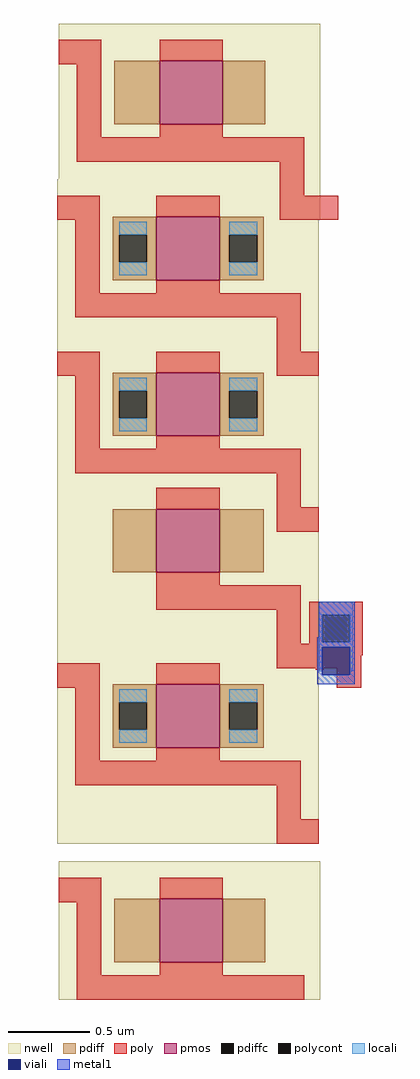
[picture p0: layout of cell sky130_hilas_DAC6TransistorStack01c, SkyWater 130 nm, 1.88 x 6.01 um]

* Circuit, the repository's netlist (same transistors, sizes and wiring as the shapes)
* Copyright 2020 The Hilas PDK Authors
* 
* This file is part of HILAS.
* 
* HILAS is free software: you can redistribute it and/or modify
* it under the terms of the GNU Lesser General Public License as published by
* the Free Software Foundation, version 3 of the License.
* 
* HILAS is distributed in the hope that it will be useful,
* but WITHOUT ANY WARRANTY; without even the implied warranty of
* MERCHANTABILITY or FITNESS FOR A PARTICULAR PURPOSE.  See the
* GNU Lesser General Public License for more details.
* 
* You should have received a copy of the GNU Lesser General Public License
* along with HILAS.  If not, see <https://www.gnu.org/licenses/>.
* 
* Licensed under the Lesser General Public License, Version 3.0 (the "License");
* you may not use this file except in compliance with the License.
* You may obtain a copy of the License at
* 
* https://www.gnu.org/licenses/lgpl-3.0.en.html
* 
* Unless required by applicable law or agreed to in writing, software
* distributed under the License is distributed on an "AS IS" BASIS,
* WITHOUT WARRANTIES OR CONDITIONS OF ANY KIND, either express or implied.
* See the License for the specific language governing permissions and
* limitations under the License.
* 
* SPDX-License-Identifier: LGPL-3.0
* 
* 

* NGSPICE file created from sky130_hilas_DAC6TransistorStack01c.ext - technology: sky130A

.subckt sky130_hilas_pFETdevice01b SUB w_n158_n156#
X0 a_42_n38# a_n36_n84# a_n90_n38# w_n158_n156# sky130_fd_pr__pfet_01v8 w=390000u l=390000u
.ends

.subckt sky130_hilas_pFETdevice01 SUB w_n158_n156#
X0 a_42_n38# a_n158_36# a_n90_n38# w_n158_n156# sky130_fd_pr__pfet_01v8 w=390000u l=390000u
.ends

.subckt sky130_hilas_pFETdevice01aa SUB w_n160_n156#
X0 a_42_n38# a_n160_36# a_n92_n38# w_n160_n156# sky130_fd_pr__pfet_01v8 w=390000u l=390000u
.ends

.subckt sky130_hilas_pFETdevice01a SUB w_n160_n84#
X0 a_42_n38# a_n160_36# a_n92_n38# w_n160_n84# sky130_fd_pr__pfet_01v8 w=390000u l=390000u
.ends


* Top level circuit sky130_hilas_DAC6TransistorStack01c

Xsky130_hilas_pFETdevice01b_1 SUB sky130_hilas_pFETdevice01a_0/w_n160_n84# sky130_hilas_pFETdevice01b
Xsky130_hilas_pFETdevice01_0 SUB sky130_hilas_pFETdevice01a_0/w_n160_n84# sky130_hilas_pFETdevice01
Xsky130_hilas_pFETdevice01_3 SUB sky130_hilas_pFETdevice01a_0/w_n160_n84# sky130_hilas_pFETdevice01
Xsky130_hilas_pFETdevice01_6 SUB sky130_hilas_pFETdevice01a_0/w_n160_n84# sky130_hilas_pFETdevice01
Xsky130_hilas_pFETdevice01aa_0 SUB sky130_hilas_pFETdevice01a_0/w_n160_n84# sky130_hilas_pFETdevice01aa
Xsky130_hilas_pFETdevice01a_0 SUB sky130_hilas_pFETdevice01a_0/w_n160_n84# sky130_hilas_pFETdevice01a
.end

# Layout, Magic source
magic
tech sky130A
use sky130_hilas_pFETdevice01b  sky130_hilas_pFETdevice01b_1
transform 1 0 18 0 1 214
box 0 0 188 133
use sky130_hilas_pFETdevice01  sky130_hilas_pFETdevice01_0
transform 1 0 18 0 1 118
box 0 0 161 121
use sky130_hilas_pFETdevice01  sky130_hilas_pFETdevice01_3
transform 1 0 18 0 1 310
box 0 0 161 121
use sky130_hilas_pFETdevice01  sky130_hilas_pFETdevice01_6
transform 1 0 18 0 1 406
box 0 0 161 121
use sky130_hilas_pFETdevice01aa  sky130_hilas_pFETdevice01aa_0
transform 1 0 19 0 1 502
box 0 0 172 121
use sky130_hilas_pFETdevice01a  sky130_hilas_pFETdevice01a_0
transform 1 0 19 0 1 22
box 0 0 161 85
<< properties >>
string LEFsite unithd
string LEFclass CORE
string LEFsymmetry X Y R90
<< end >>

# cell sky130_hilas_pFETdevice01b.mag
magic
tech sky130A
<< nwell >>
rect 0 12 161 133
<< pmos >>
rect 61 71 100 110
<< pdiff >>
rect 34 71 61 110
rect 100 71 127 110
<< poly >>
rect 61 110 100 123
rect 61 63 100 71
rect 61 48 150 63
rect 135 27 150 48
rect 135 12 187 27
rect 159 11 164 12
rect 172 0 187 12
use sky130_hilas_poly2m1  sky130_hilas_poly2m1_0
transform 1 0 155 0 1 2
box 0 0 33 51
<< properties >>
string LEFsite unithd
string LEFclass CORE
string LEFsymmetry X Y R90
<< end >>

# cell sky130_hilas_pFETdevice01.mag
magic
tech sky130A
<< nwell >>
rect 0 0 161 121
<< pmos >>
rect 61 59 100 98
<< pdiff >>
rect 34 87 61 98
rect 34 70 38 87
rect 55 70 61 87
rect 34 59 61 70
rect 100 87 127 98
rect 100 70 106 87
rect 123 70 127 87
rect 100 59 127 70
<< pdiffc >>
rect 38 70 55 87
rect 106 70 123 87
<< poly >>
rect 0 96 26 111
rect 61 98 100 111
rect 11 51 26 96
rect 61 51 100 59
rect 11 36 150 51
rect 135 15 150 36
rect 135 0 161 15
<< locali >>
rect 38 87 55 95
rect 38 62 55 70
rect 106 87 123 95
rect 106 62 123 70
<< properties >>
string LEFsite unithd
string LEFclass CORE
string LEFsymmetry X Y R90
<< end >>

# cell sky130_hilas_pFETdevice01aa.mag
magic
tech sky130A
<< nwell >>
rect 0 0 161 121
<< pmos >>
rect 62 59 101 98
<< pdiff >>
rect 34 59 62 98
rect 101 59 127 98
<< poly >>
rect 0 96 26 111
rect 62 98 101 111
rect 11 51 26 96
rect 62 51 101 59
rect 11 36 151 51
rect 136 15 151 36
rect 136 0 172 15
<< properties >>
string LEFsite unithd
string LEFclass CORE
string LEFsymmetry X Y R90
<< end >>

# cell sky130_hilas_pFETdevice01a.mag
magic
tech sky130A
<< nwell >>
rect 0 0 161 85
<< pmos >>
rect 62 23 101 62
<< pdiff >>
rect 34 23 62 62
rect 101 23 127 62
<< poly >>
rect 0 60 26 75
rect 62 62 101 75
rect 11 15 26 60
rect 62 15 101 23
rect 11 0 151 15
<< properties >>
string LEFsite unithd
string LEFclass CORE
string LEFsymmetry X Y R90
<< end >>

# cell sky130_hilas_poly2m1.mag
magic
tech sky130A
<< poly >>
rect 0 43 33 51
rect 0 26 8 43
rect 25 26 33 43
rect 0 18 33 26
<< polycont >>
rect 8 26 25 43
<< locali >>
rect 6 43 27 51
rect 6 26 8 43
rect 25 26 27 43
rect 6 23 27 26
rect 6 8 8 23
rect 25 8 27 23
<< viali >>
rect 8 6 25 23
<< metal1 >>
rect 6 29 28 51
rect 5 23 28 29
rect 5 6 8 23
rect 25 6 28 23
rect 5 0 28 6
<< properties >>
string LEFsite unithd
string LEFclass CORE
string LEFsymmetry X Y R90
<< end >>
